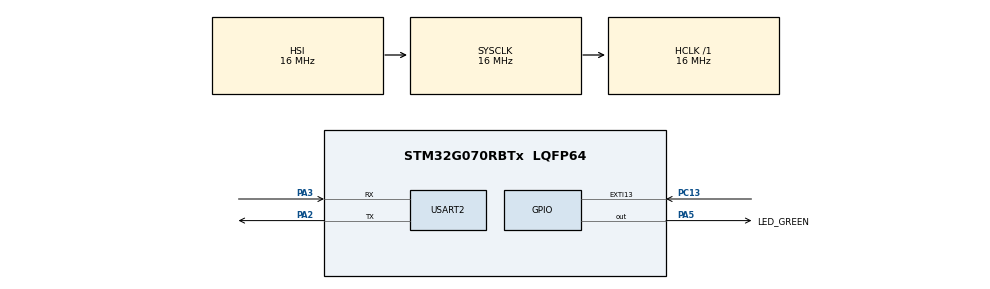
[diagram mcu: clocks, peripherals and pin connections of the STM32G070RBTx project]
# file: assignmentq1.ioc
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Mcu.Family=STM32G0
Mcu.Name=STM32G070RBTx
Mcu.Package=LQFP64
NVIC.EXTI4_15_IRQn=true\:0\:0\:false\:false\:true\:true\:true\:true
NVIC.TIM6_IRQn=true\:0\:0\:false\:false\:true\:true\:true\:true
PA13.GPIO_Label=TMS
PA13.Mode=Serial_Wire
PA13.Signal=SYS_SWDIO
PA14-BOOT0.GPIO_Label=TCK
PA14-BOOT0.Mode=Serial_Wire
PA14-BOOT0.Signal=SYS_SWCLK
PA2.GPIO_PuPd=GPIO_PULLUP
PA2.Mode=Asynchronous
PA2.Signal=USART2_TX
PA3.GPIO_PuPd=GPIO_PULLUP
PA3.Mode=Asynchronous
PA3.Signal=USART2_RX
PA5.GPIO_Label=LED_GREEN
PA5.GPIO_Speed=GPIO_SPEED_FREQ_HIGH
PA5.Signal=GPIO_Output
PC13.Signal=GPXTI13
PC14-OSC32_IN\ (PC14).Mode=LSE-External-Oscillator
PC14-OSC32_IN\ (PC14).Signal=RCC_OSC32_IN
PC15-OSC32_OUT\ (PC15).Mode=LSE-External-Oscillator
PC15-OSC32_OUT\ (PC15).Signal=RCC_OSC32_OUT
PF0-OSC_IN\ (PF0).GPIO_Label=MCO
PF0-OSC_IN\ (PF0).Mode=HSE-External-Clock-Source
PF0-OSC_IN\ (PF0).Signal=RCC_OSC_IN
ProjectManager.HeapSize=0x200
ProjectManager.StackSize=0x400
ProjectManager.TargetToolchain=STM32CubeIDE
RCC.AHBFreq_Value=16000000
RCC.CortexFreq_Value=16000000
RCC.EXTERNAL_CLOCK_VALUE=12288000
RCC.HCLKFreq_Value=16000000
RCC.HSE_VALUE=8000000
RCC.HSI_VALUE=16000000
RCC.SYSCLKFreq_VALUE=16000000
RCC.VCOOutputFreq_Value=128000000
TIM6.Period=249
TIM6.Prescaler=15999
USART2.VirtualMode-Asynchronous=VM_ASYNC
USART2.WordLength=WORDLENGTH_7B
VP_TIM6_VS_ClockSourceINT.Mode=Enable_Timer
board=NUCLEO-G070RB

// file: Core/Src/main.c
/* USER CODE BEGIN Header */
/**
  ******************************************************************************
  * @file           : main.c
  * @brief          : Main program body
  ******************************************************************************
  * @attention
  *
  * Copyright (c) 2026 STMicroelectronics.
  * All rights reserved.
  *
  * This software is licensed under terms that can be found in the LICENSE file
  * in the root directory of this software component.
  * If no LICENSE file comes with this software, it is provided AS-IS.
  *
  ******************************************************************************
  */
/* USER CODE END Header */
#include "main.h"

TIM_HandleTypeDef htim6;

UART_HandleTypeDef huart2;

/* USER CODE BEGIN PV */
volatile uint8_t switch_press_count = 0;
/* USER CODE END PV */

void SystemClock_Config(void);
static void MX_GPIO_Init(void);
static void MX_TIM6_Init(void);
static void MX_USART2_UART_Init(void);

int main(void)
{

  /* MCU Configuration--------------------------------------------------------*/

  /* Reset of all peripherals, Initializes the Flash interface and the Systick. */
  HAL_Init();

  /* Configure the system clock */
  SystemClock_Config();

  /* Initialize all configured peripherals */
  MX_GPIO_Init();
  MX_TIM6_Init();
  MX_USART2_UART_Init();

  /* Infinite loop */
  while (1)
  {
	  HAL_PWR_EnterSLEEPMode(PWR_MAINREGULATOR_ON, PWR_SLEEPENTRY_WFI);
  }
}

void SystemClock_Config(void)
{
  RCC_OscInitTypeDef RCC_OscInitStruct = {0};
  RCC_ClkInitTypeDef RCC_ClkInitStruct = {0};

  /** Configure the main internal regulator output voltage
  */
  HAL_PWREx_ControlVoltageScaling(PWR_REGULATOR_VOLTAGE_SCALE1);

  /** Initializes the RCC Oscillators according to the specified parameters
  * in the RCC_OscInitTypeDef structure.
  */
  RCC_OscInitStruct.OscillatorType = RCC_OSCILLATORTYPE_HSI;
  RCC_OscInitStruct.HSIState = RCC_HSI_ON;
  RCC_OscInitStruct.HSIDiv = RCC_HSI_DIV1;
  RCC_OscInitStruct.HSICalibrationValue = RCC_HSICALIBRATION_DEFAULT;
  RCC_OscInitStruct.PLL.PLLState = RCC_PLL_NONE;
  if (HAL_RCC_OscConfig(&RCC_OscInitStruct) != HAL_OK)
  {
    Error_Handler();
  }

  /** Initializes the CPU, AHB and APB buses clocks
  */
  RCC_ClkInitStruct.ClockType = RCC_CLOCKTYPE_HCLK|RCC_CLOCKTYPE_SYSCLK
                              |RCC_CLOCKTYPE_PCLK1;
  RCC_ClkInitStruct.SYSCLKSource = RCC_SYSCLKSOURCE_HSI;
  RCC_ClkInitStruct.AHBCLKDivider = RCC_SYSCLK_DIV1;
  RCC_ClkInitStruct.APB1CLKDivider = RCC_HCLK_DIV1;

  if (HAL_RCC_ClockConfig(&RCC_ClkInitStruct, FLASH_LATENCY_0) != HAL_OK)
  {
    Error_Handler();
  }
}

static void MX_TIM6_Init(void)
{

  TIM_MasterConfigTypeDef sMasterConfig = {0};

  htim6.Instance = TIM6;
  htim6.Init.Prescaler = 15999;
  htim6.Init.CounterMode = TIM_COUNTERMODE_UP;
  htim6.Init.Period = 249;
  htim6.Init.AutoReloadPreload = TIM_AUTORELOAD_PRELOAD_DISABLE;
  if (HAL_TIM_Base_Init(&htim6) != HAL_OK)
  {
    Error_Handler();
  }
  sMasterConfig.MasterOutputTrigger = TIM_TRGO_RESET;
  sMasterConfig.MasterSlaveMode = TIM_MASTERSLAVEMODE_DISABLE;
  if (HAL_TIMEx_MasterConfigSynchronization(&htim6, &sMasterConfig) != HAL_OK)
  {
    Error_Handler();
  }

}

static void MX_USART2_UART_Init(void)
{

  huart2.Instance = USART2;
  huart2.Init.BaudRate = 115200;
  huart2.Init.WordLength = UART_WORDLENGTH_7B;
  huart2.Init.StopBits = UART_STOPBITS_1;
  huart2.Init.Parity = UART_PARITY_NONE;
  huart2.Init.Mode = UART_MODE_TX_RX;
  huart2.Init.HwFlowCtl = UART_HWCONTROL_NONE;
  huart2.Init.OverSampling = UART_OVERSAMPLING_16;
  huart2.Init.OneBitSampling = UART_ONE_BIT_SAMPLE_DISABLE;
  huart2.Init.ClockPrescaler = UART_PRESCALER_DIV1;
  huart2.AdvancedInit.AdvFeatureInit = UART_ADVFEATURE_NO_INIT;
  if (HAL_UART_Init(&huart2) != HAL_OK)
  {
    Error_Handler();
  }
  if (HAL_UARTEx_SetTxFifoThreshold(&huart2, UART_TXFIFO_THRESHOLD_1_8) != HAL_OK)
  {
    Error_Handler();
  }
  if (HAL_UARTEx_SetRxFifoThreshold(&huart2, UART_RXFIFO_THRESHOLD_1_8) != HAL_OK)
  {
    Error_Handler();
  }
  if (HAL_UARTEx_DisableFifoMode(&huart2) != HAL_OK)
  {
    Error_Handler();
  }

}

static void MX_GPIO_Init(void)
{
  GPIO_InitTypeDef GPIO_InitStruct = {0};

  /* GPIO Ports Clock Enable */
  __HAL_RCC_GPIOC_CLK_ENABLE();
  __HAL_RCC_GPIOF_CLK_ENABLE();
  __HAL_RCC_GPIOA_CLK_ENABLE();

  /*Configure GPIO pin Output Level */
  HAL_GPIO_WritePin(LED_GREEN_GPIO_Port, LED_GREEN_Pin, GPIO_PIN_RESET);

  /*Configure GPIO pin : PC13 */
  GPIO_InitStruct.Pin = GPIO_PIN_13;
  GPIO_InitStruct.Mode = GPIO_MODE_IT_RISING;
  GPIO_InitStruct.Pull = GPIO_NOPULL;
  HAL_GPIO_Init(GPIOC, &GPIO_InitStruct);

  /*Configure GPIO pin : LED_GREEN_Pin */
  GPIO_InitStruct.Pin = LED_GREEN_Pin;
  GPIO_InitStruct.Mode = GPIO_MODE_OUTPUT_PP;
  GPIO_InitStruct.Pull = GPIO_NOPULL;
  GPIO_InitStruct.Speed = GPIO_SPEED_FREQ_HIGH;
  HAL_GPIO_Init(LED_GREEN_GPIO_Port, &GPIO_InitStruct);

  /* EXTI interrupt init*/
  HAL_NVIC_SetPriority(EXTI4_15_IRQn, 0, 0);
  HAL_NVIC_EnableIRQ(EXTI4_15_IRQn);

}

/* USER CODE BEGIN 4 */
// 1. THIS RUNS WHEN THE BUTTON IS PRESSED
void HAL_GPIO_EXTI_Falling_Callback(uint16_t GPIO_Pin)
{
    if (GPIO_Pin == GPIO_PIN_13)
    {
        // Simple software debounce
        HAL_Delay(50);
        if(HAL_GPIO_ReadPin(GPIOC, GPIO_PIN_13) == GPIO_PIN_RESET)
        {
            switch_press_count++;

            // 5th press is considered 1st switch press [cite: 8, 9]
            if (switch_press_count > 4) {
                switch_press_count = 1;
            }

            // State Machine for Frequencies
            switch(switch_press_count)
            {
                case 1: // 0.5 Hz -> Toggle every 1000ms [cite: 4]
                    __HAL_TIM_SET_AUTORELOAD(&htim6, 1000 - 1);
                    HAL_TIM_Base_Start_IT(&htim6);
                    break;
                case 2: // 1.0 Hz -> Toggle every 500ms [cite: 5]
                    __HAL_TIM_SET_AUTORELOAD(&htim6, 500 - 1);
                    HAL_TIM_Base_Start_IT(&htim6);
                    break;
                case 3: // 2.0 Hz -> Toggle every 250ms [cite: 6]
                    __HAL_TIM_SET_AUTORELOAD(&htim6, 250 - 1);
                    HAL_TIM_Base_Start_IT(&htim6);
                    break;
                case 4: // 4th press -> LED turns off [cite: 7]
                    HAL_TIM_Base_Stop_IT(&htim6);
                    HAL_GPIO_WritePin(GPIOA, GPIO_PIN_5, GPIO_PIN_RESET);
                    break;
            }
        }
    }
}

// 2. THIS RUNS WHEN THE TIMER FINISHES COUNTING
void HAL_TIM_PeriodElapsedCallback(TIM_HandleTypeDef *htim)
{
    if (htim->Instance == TIM6)
    {
        HAL_GPIO_TogglePin(GPIOA, GPIO_PIN_5);
    }
}
/* USER CODE END 4 */

void Error_Handler(void)
{
  __disable_irq();
  while (1)
  {
  }
}
